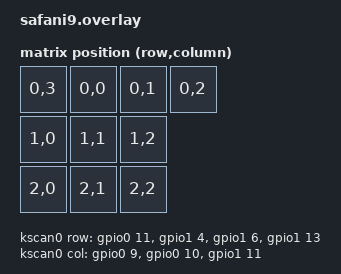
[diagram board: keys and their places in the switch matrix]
#include <dt-bindings/zmk/matrix_transform.h>
#include <physical_layouts.dtsi>

/ {
    chosen {
        zmk,kscan = &kscan0;
        zmk,matrix-transform = &default_transform;
        zmk,physical-layout = &physical_layout0;
    };

    default_transform: keymap_transform_0 {
        compatible = "zmk,matrix-transform";
        columns = <4>; /* Sesuaikan jumlah kolom jika diperlukan */
        rows = <3>;
        map = <
            RC(0,3)
            RC(0,0) RC(0,1) RC(0,2) 
            RC(1,0) RC(1,1) RC(1,2)
            RC(2,0) RC(2,1) RC(2,2)
        >;
    };
    kscan0: kscan {
        compatible = "zmk,kscan-gpio-matrix";
        label = "SAFANI_KSCAN";
        diode-direction = "row2col";
        wakeup-source;

        row-gpios =
            <&gpio0 11 GPIO_ACTIVE_HIGH>, /* P0.11 Row 0 */
            <&gpio1 4  GPIO_ACTIVE_HIGH>, /* P1.04 Row 1 */
            <&gpio1 6  GPIO_ACTIVE_HIGH>, /* P1.06 Row 2 */
            <&gpio1 13 GPIO_ACTIVE_HIGH>; /* P1.13 Row 3 / encoder SW */

        col-gpios =
            <&gpio0 9  (GPIO_ACTIVE_HIGH | GPIO_PULL_DOWN)>, /* P0.09 */
            <&gpio0 10 (GPIO_ACTIVE_HIGH | GPIO_PULL_DOWN)>, /* P0.10 */
            <&gpio1 11 (GPIO_ACTIVE_HIGH | GPIO_PULL_DOWN)>; /* P1.11 */

        debounce-press-ms = <5>;
        debounce-release-ms = <5>;
    };
    physical_layout0: physical_layout_0 {
        compatible = "zmk,physical-layout";
        display-name = "Safani9 Top-Left Encoder Layout";
        transform = <&default_transform>;
        kscan = <&kscan0>;

        /* 
          Urutan tombol harus sama persis dengan urutan tombol/switch yang didefinisikan 
          pada 'map' matrix-transform Anda. 
          Contoh di bawah menempatkan encoder/tombol pertama di (0,0) dan 9 tombol lainnya di sebelah kanan/bawahnya.
        */
        keys 
            = <&key_physical_attrs 100 100    0    0       0     0     0> /* Posisi Encoder (Kiri Atas / 0,0) */
            , <&key_physical_attrs 100 100  100    0       0     0     0> /* Tombol 1 */
            , <&key_physical_attrs 100 100  200    0       0     0     0> /* Tombol 2 */
            , <&key_physical_attrs 100 100  300    0       0     0     0> /* Tombol 3 */
            , <&key_physical_attrs 100 100    0  100       0     0     0> /* Tombol 4 */
            , <&key_physical_attrs 100 100  100  100       0     0     0> /* Tombol 5 */
            , <&key_physical_attrs 100 100  200  100       0     0     0> /* Tombol 6 */
            , <&key_physical_attrs 100 100    0  200       0     0     0> /* Tombol 7 */
            , <&key_physical_attrs 100 100  100  200       0     0     0> /* Tombol 8 */
            , <&key_physical_attrs 100 100  200  200       0     0     0> /* Tombol 9 */
            ;
    };
};
